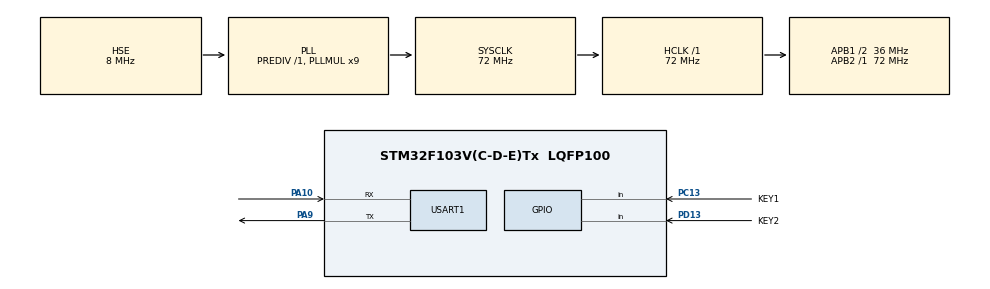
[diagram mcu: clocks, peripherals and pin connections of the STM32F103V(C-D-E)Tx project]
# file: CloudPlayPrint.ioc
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Mcu.Family=STM32F1
Mcu.Name=STM32F103V(C-D-E)Tx
Mcu.Package=LQFP100
NVIC.PriorityGroup=NVIC_PRIORITYGROUP_4
NVIC.USART1_IRQn=true\:0\:0\:false\:false\:true\:true\:true\:true
OSC_IN.Mode=HSE-External-Oscillator
OSC_IN.Signal=RCC_OSC_IN
OSC_OUT.Mode=HSE-External-Oscillator
OSC_OUT.Signal=RCC_OSC_OUT
PA10.Mode=Asynchronous
PA10.Signal=USART1_RX
PA13.Mode=Serial_Wire
PA13.Signal=SYS_JTMS-SWDIO
PA14.Mode=Serial_Wire
PA14.Signal=SYS_JTCK-SWCLK
PA9.Mode=Asynchronous
PA9.Signal=USART1_TX
PC13-TAMPER-RTC.GPIO_Label=KEY1
PC13-TAMPER-RTC.Signal=GPIO_Input
PC14-OSC32_IN.Mode=LSE-External-Oscillator
PC14-OSC32_IN.Signal=RCC_OSC32_IN
PC15-OSC32_OUT.Mode=LSE-External-Oscillator
PC15-OSC32_OUT.Signal=RCC_OSC32_OUT
PD13.GPIO_Label=KEY2
PD13.Signal=GPIO_Input
ProjectManager.HeapSize=0x200
ProjectManager.StackSize=0x400
ProjectManager.TargetToolchain=MDK-ARM V5
RCC.AHBFreq_Value=72000000
RCC.APB1CLKDivider=RCC_HCLK_DIV2
RCC.APB1Freq_Value=36000000
RCC.APB1TimFreq_Value=72000000
RCC.APB2Freq_Value=72000000
RCC.APB2TimFreq_Value=72000000
RCC.EnbaleCSS=true
RCC.HCLKFreq_Value=72000000
RCC.PLLMUL=RCC_PLL_MUL9
RCC.PLLSourceVirtual=RCC_PLLSOURCE_HSE
RCC.SYSCLKFreq_VALUE=72000000
RCC.SYSCLKSource=RCC_SYSCLKSOURCE_PLLCLK
RCC.USBFreq_Value=72000000
USART1.VirtualMode=VM_ASYNC
board=custom

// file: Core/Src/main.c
/* USER CODE BEGIN Header */
/**
  ******************************************************************************
  * @file           : main.c
  * @brief          : Main program body
  ******************************************************************************
  * @attention
  *
  * Copyright (c) 2024 STMicroelectronics.
  * All rights reserved.
  *
  * This software is licensed under terms that can be found in the LICENSE file
  * in the root directory of this software component.
  * If no LICENSE file comes with this software, it is provided AS-IS.
  *
  ******************************************************************************
  */
/* USER CODE END Header */
#include "main.h"
#include "usart.h"
#include "gpio.h"

/* USER CODE BEGIN Includes */
#include <stdio.h>
/* USER CODE END Includes */

/* USER CODE BEGIN PM */
#define DelayMs  HAL_Delay//重命名延时函数，时间单位：ms
#define NONE_KEY  0  //无按键按下
#define KEY_VALID 255//有按键按下
#define KEY1      1  //按键KEY1键值
#define KEY2      2  //按键KEY2键值
/* USER CODE END PM */

void SystemClock_Config(void);
/* USER CODE BEGIN PFP */
uint8_t KeyDebounce(GPIO_TypeDef *GPIOx, uint16_t GPIO_Pin);
uint8_t KeyStateScan(void);
uint8_t KeyScanFallEdge(void);
/* USER CODE END PFP */

/* USER CODE BEGIN 0 */
//按键去抖动
uint8_t KeyDebounce(GPIO_TypeDef *GPIOx, uint16_t GPIO_Pin)
{
  GPIO_PinState PinState;
  PinState = HAL_GPIO_ReadPin(GPIOx, GPIO_Pin);
  if(PinState != GPIO_PIN_SET)
  {
    DelayMs(30);
    PinState = HAL_GPIO_ReadPin(GPIOx, GPIO_Pin);
    if(PinState != GPIO_PIN_SET)
    {
      return KEY_VALID;
    }
  }
  return NONE_KEY;
}
//检测按键状态
uint8_t KeyStateScan(void)
{
  uint8_t key = NONE_KEY;
  key = KeyDebounce(KEY1_GPIO_Port, KEY1_Pin);
  if(key != NONE_KEY)
  {return KEY1;}
  key = KeyDebounce(KEY2_GPIO_Port, KEY2_Pin);
  if(key != NONE_KEY)
  {return KEY2;}
  return NONE_KEY;
}
//检测按键下降沿
uint8_t KeyScanFallEdge(void)
{
  uint8_t key = NONE_KEY;
  static uint8_t keyOld = NONE_KEY;
  key = KeyStateScan();
  if(key != keyOld)
  {
    keyOld = key;
    return key;
  }
  return NONE_KEY;
}
/* USER CODE END 0 */

int main(void)
{

  /* MCU Configuration--------------------------------------------------------*/

  /* Reset of all peripherals, Initializes the Flash interface and the Systick. */
  HAL_Init();

  /* Configure the system clock */
  SystemClock_Config();

  /* Initialize all configured peripherals */
  MX_GPIO_Init();
  MX_USART1_UART_Init();
  /* USER CODE BEGIN 2 */
	printf_("fuck you \r\n love you ");
  /* USER CODE END 2 */

  /* Infinite loop */
  /* USER CODE BEGIN WHILE */
  uint8_t key;
  while (1)
  {
    /* USER CODE END WHILE */
    key = KeyScanFallEdge();
    if(key != NONE_KEY)
    {printf("KEY%d Pressed \r\n", key);}
  }
}

void SystemClock_Config(void)
{
  RCC_OscInitTypeDef RCC_OscInitStruct = {0};
  RCC_ClkInitTypeDef RCC_ClkInitStruct = {0};

  /** Initializes the RCC Oscillators according to the specified parameters
  * in the RCC_OscInitTypeDef structure.
  */
  RCC_OscInitStruct.OscillatorType = RCC_OSCILLATORTYPE_HSE;
  RCC_OscInitStruct.HSEState = RCC_HSE_ON;
  RCC_OscInitStruct.HSEPredivValue = RCC_HSE_PREDIV_DIV1;
  RCC_OscInitStruct.HSIState = RCC_HSI_ON;
  RCC_OscInitStruct.PLL.PLLState = RCC_PLL_ON;
  RCC_OscInitStruct.PLL.PLLSource = RCC_PLLSOURCE_HSE;
  RCC_OscInitStruct.PLL.PLLMUL = RCC_PLL_MUL9;
  if (HAL_RCC_OscConfig(&RCC_OscInitStruct) != HAL_OK)
  {
    Error_Handler();
  }

  /** Initializes the CPU, AHB and APB buses clocks
  */
  RCC_ClkInitStruct.ClockType = RCC_CLOCKTYPE_HCLK|RCC_CLOCKTYPE_SYSCLK
                              |RCC_CLOCKTYPE_PCLK1|RCC_CLOCKTYPE_PCLK2;
  RCC_ClkInitStruct.SYSCLKSource = RCC_SYSCLKSOURCE_PLLCLK;
  RCC_ClkInitStruct.AHBCLKDivider = RCC_SYSCLK_DIV1;
  RCC_ClkInitStruct.APB1CLKDivider = RCC_HCLK_DIV2;
  RCC_ClkInitStruct.APB2CLKDivider = RCC_HCLK_DIV1;

  if (HAL_RCC_ClockConfig(&RCC_ClkInitStruct, FLASH_LATENCY_2) != HAL_OK)
  {
    Error_Handler();
  }

  /** Enables the Clock Security System
  */
  HAL_RCC_EnableCSS();
}

void Error_Handler(void)
{
  __disable_irq();
  while (1)
  {
  }
}
